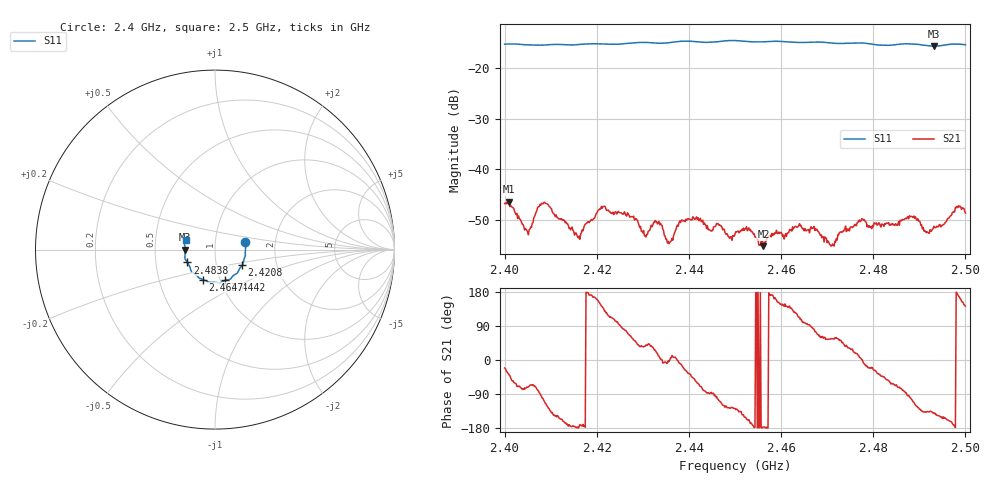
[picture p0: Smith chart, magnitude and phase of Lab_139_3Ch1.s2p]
# Hz S RI R 50
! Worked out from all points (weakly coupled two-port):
!   601 points, 2.4 GHz to 2.5 GHz, reference 50 ohm
!   highest |S21| = -46.38 dB at 2.401 GHz (marker M1); lowest = -55.2 dB at 2.4562 GHz (marker M2)
!   lowest |S11| = -15.6 dB at 2.4932 GHz (marker M3), VSWR 1.40, Z = 35.8 - j0.0696 ohm
!   |S11| at or under -10 dB: start of sweep to end of sweep
!   S12 and S22 are empty: the file has one direction only
!   S11 on the Smith chart (normalised r, x): 2.4 GHz: 1.40, +0.12; 2.4208 GHz: 1.33, -0.24; 2.4442 GHz: 1.05, -0.37; 2.4647 GHz: 0.83, -0.29; 2.4838 GHz: 0.73, -0.11; 2.5 GHz: 0.72, +0.08
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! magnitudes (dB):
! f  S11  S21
! 2.4 GHz  -15.2  -46.7
! 2.401 GHz  -15.2  -46.4
! 2.4048 GHz  -15.4  -52.1
! 2.4085 GHz  -15.4  -46.5
! 2.4167 GHz  -15.3  -52.5
! 2.4208 GHz  -15.2  -47.8
! 2.428 GHz  -15.0  -49.2
! 2.4305 GHz  -14.9  -53.0
! 2.4333 GHz  -15.0  -50.6
! 2.4357 GHz  -14.9  -54.7
! 2.4385 GHz  -14.6  -50.0
! 2.4442 GHz  -14.9  -51.9
! 2.45 GHz  -14.5  -52.8
! 2.4562 GHz  -14.8  -55.2
! 2.4647 GHz  -14.9  -51.7
! 2.4667 GHz  -14.8  -51.7
! 2.471 GHz  -15.0  -55.1
! 2.4773 GHz  -15.0  -50.2
! 2.4833 GHz  -15.5  -50.5
! 2.4838 GHz  -15.4  -51.0
! 2.4932 GHz  -15.6  -51.2
! 2.5 GHz  -15.3  -48.6
